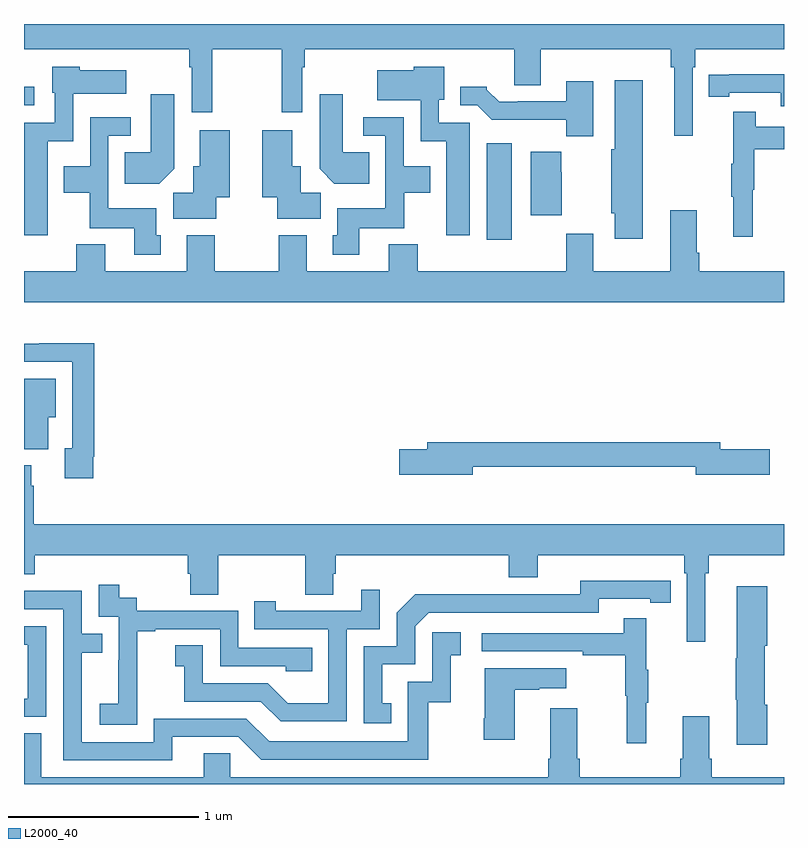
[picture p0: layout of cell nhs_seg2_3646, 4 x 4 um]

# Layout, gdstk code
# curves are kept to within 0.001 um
import gdstk
lib = gdstk.Library(unit=1e-6, precision=1e-09)
def R(c, l, rs):  # rectangles x0, y0, x1, y1
    for r in rs: c.add(gdstk.rectangle(r[:2], r[2:], *l))
def P(c, l, *ps):  # polygons
    for p in ps: c.add(gdstk.Polygon(p, *l))
L2000_40 = (2000, 40)

nhs_seg2_3646 = lib.new_cell('nhs_seg2_3646')
R(nhs_seg2_3646, L2000_40, [(305.435,614.664,305.566,615.172), (303,615.372,303.055,615.469)])
P(nhs_seg2_3646, L2000_40, [(306.519,615.572),(306.533,615.572),(306.533,615.668),(307,615.668),(307,615.8),(303,615.8),(303,615.668),(303.87,615.668),(303.87,615.572),(303.882,615.572),(303.882,615.336),(303.991,615.336),(303.991,615.668),(304.356,615.668),(304.356,615.336),(304.464,615.336),(304.464,615.572),(304.477,615.572),(304.477,615.668),(305.579,615.668),(305.579,615.478),(305.719,615.478),(305.719,615.668),(306.403,615.668),(306.403,615.572),(306.422,615.572),(306.422,615.213),(306.519,615.213)],
  [(303.124,615.182),(303.258,615.182),(303.258,615.434),(303.538,615.434),(303.538,615.556),(303.294,615.556),(303.294,615.574),(303.149,615.574),(303.149,615.438),(303.162,615.438),(303.162,615.279),(303,615.279),(303,614.688),(303.124,614.688)],
  [(305.347,615.279),(305.184,615.279),(305.184,615.402),(305.212,615.402),(305.212,615.574),(305.052,615.574),(305.052,615.556),(304.86,615.556),(304.86,615.398),(305.088,615.398),(305.088,615.182),(305.222,615.182),(305.222,614.688),(305.347,614.688)],
  [(307,615.535),(306.712,615.535),(306.712,615.534),(306.604,615.534),(306.604,615.418),(306.712,615.418),(306.712,615.438),(306.984,615.438),(306.984,615.366),(307,615.366)],
  [(306.256,615.505),(306.11,615.505),(306.11,615.141),(306.092,615.141),(306.092,614.805),(306.11,614.805),(306.11,614.67),(306.256,614.67)],
  [(305.995,615.499),(305.855,615.499),(305.855,615.393),(305.599,615.393),(305.599,615.39),(305.5,615.39),(305.436,615.454),(305.436,615.469),(305.297,615.469),(305.297,615.372),(305.385,615.372),(305.461,615.296),(305.853,615.296),(305.853,615.209),(305.995,615.209)],
  [(304.817,615.124),(304.678,615.124),(304.678,615.43),(304.556,615.43),(304.556,615.038),(304.634,614.96),(304.817,614.96)],
  [(303.79,615.038),(303.79,615.43),(303.668,615.43),(303.668,615.124),(303.529,615.124),(303.529,614.96),(303.712,614.96)],
  [(306.836,614.928),(306.844,614.928),(306.844,615.142),(307,615.142),(307,615.258),(306.851,615.258),(306.851,615.337),(306.734,615.337),(306.734,615.065),(306.723,615.065),(306.723,614.891),(306.734,614.891),(306.734,614.679),(306.836,614.679)],
  [(303.721,614.688),(303.697,614.688),(303.697,614.83),(303.444,614.83),(303.444,615.213),(303.562,615.213),(303.562,615.309),(303.348,615.309),(303.348,615.052),(303.209,615.052),(303.209,614.912),(303.346,614.912),(303.346,614.726),(303.581,614.726),(303.581,614.586),(303.721,614.586)],
  [(304.765,614.726),(305.001,614.726),(305.001,614.912),(305.137,614.912),(305.137,615.052),(304.998,615.052),(304.998,615.309),(304.785,615.309),(304.785,615.213),(304.902,615.213),(304.902,614.83),(304.649,614.83),(304.649,614.688),(304.625,614.688),(304.625,614.586),(304.765,614.586)],
  [(304.012,614.888),(304.084,614.888),(304.084,615.241),(303.926,615.241),(303.926,615.052),(303.89,615.052),(303.89,614.912),(303.785,614.912),(303.785,614.774),(304.012,614.774)],
  [(304.561,614.912),(304.456,614.912),(304.456,615.052),(304.411,615.052),(304.411,615.241),(304.253,615.241),(304.253,614.888),(304.334,614.888),(304.334,614.774),(304.561,614.774)],
  [(305.83,615.02),(305.828,615.02),(305.828,615.127),(305.666,615.127),(305.666,614.793),(305.83,614.793)],
  [(307,614.5),(306.554,614.5),(306.554,614.596),(306.541,614.596),(306.541,614.821),(306.401,614.821),(306.401,614.5),(305.995,614.5),(305.995,614.695),(305.855,614.695),(305.855,614.5),(305.072,614.5),(305.072,614.641),(304.919,614.641),(304.919,614.5),(304.489,614.5),(304.489,614.689),(304.342,614.689),(304.342,614.5),(304.005,614.5),(304.005,614.689),(303.857,614.689),(303.857,614.5),(303.427,614.5),(303.427,614.641),(303.275,614.641),(303.275,614.5),(303,614.5),(303,614.336),(307,614.336)],
  [(303.364,613.522),(303.371,613.522),(303.371,614.12),(303.079,614.12),(303.079,614.118),(303,614.118),(303,614.022),(303.255,614.022),(303.255,613.566),(303.215,613.566),(303.215,613.41),(303.364,613.41)],
  [(303.127,613.73),(303.166,613.73),(303.166,613.933),(303,613.933),(303,613.562),(303.127,613.562)],
  [(305.362,613.47),(306.536,613.47),(306.536,613.427),(306.925,613.427),(306.925,613.562),(306.664,613.562),(306.664,613.598),(305.123,613.598),(305.123,613.562),(304.974,613.562),(304.974,613.427),(305.362,613.427)],
  [(303.037,613.37),(303.037,613.477),(303,613.477),(303,612.905),(303.056,612.905),(303.056,613.004),(303.863,613.004),(303.863,612.906),(303.875,612.906),(303.875,612.796),(304.023,612.796),(304.023,613.004),(304.48,613.004),(304.48,612.796),(304.627,612.796),(304.627,612.906),(304.64,612.906),(304.64,613.004),(305.552,613.004),(305.552,612.887),(305.704,612.887),(305.704,613.004),(306.476,613.004),(306.476,612.908),(306.489,612.908),(306.489,612.549),(306.586,612.549),(306.586,612.908),(306.605,612.908),(306.605,613.004),(307,613.004),(307,613.168),(303.05,613.168),(303.05,613.37)],
  [(304.934,612.225),(304.885,612.225),(304.885,612.429),(305.058,612.429),(305.058,612.63),(305.13,612.702),(306.024,612.702),(306.024,612.774),(306.296,612.774),(306.296,612.754),(306.404,612.754),(306.404,612.87),(305.928,612.871),(305.928,612.798),(305.468,612.798),(305.468,612.8),(305.06,612.8),(304.962,612.702),(304.962,612.525),(304.788,612.525),(304.788,612.12),(304.934,612.12)],
  [(303.597,612.319),(303.596,612.319),(303.596,612.603),(303.691,612.603),(303.691,612.615),(304.032,612.615),(304.032,612.42),(304.377,612.42),(304.377,612.393),(304.517,612.393),(304.517,612.516),(304.128,612.516),(304.128,612.711),(303.594,612.711),(303.594,612.78),(303.502,612.78),(303.502,612.85),(303.393,612.85),(303.393,612.681),(303.498,612.681),(303.498,612.452),(303.497,612.452),(303.497,612.223),(303.399,612.223),(303.399,612.113),(303.597,612.113)],
  [(306.911,612.218),(306.898,612.218),(306.898,612.528),(306.911,612.528),(306.911,612.841),(306.752,612.841),(306.752,612.461),(306.745,612.461),(306.745,612.244),(306.752,612.244),(306.752,612.006),(306.911,612.006)],
  [(304.698,612.615),(304.872,612.615),(304.872,612.823),(304.775,612.823),(304.775,612.711),(304.324,612.711),(304.324,612.763),(304.213,612.763),(304.213,612.615),(304.602,612.615),(304.602,612.226),(304.388,612.226),(304.284,612.33),(303.942,612.33),(303.942,612.529),(303.795,612.529),(303.795,612.419),(303.844,612.419),(303.844,612.234),(304.247,612.234),(304.352,612.129),(304.698,612.129)],
  [(303.781,612.048),(304.128,612.048),(304.248,611.928),(305.128,611.928),(305.128,612.231),(305.246,612.231),(305.246,612.477),(305.299,612.477),(305.299,612.598),(305.148,612.598),(305.148,612.339),(305.019,612.339),(305.019,612.024),(304.29,612.024),(304.17,612.144),(303.684,612.144),(303.684,612.021),(303.303,612.021),(303.303,612.49),(303.413,612.49),(303.413,612.591),(303.303,612.591),(303.303,612.816),(303,612.816),(303,612.72),(303.207,612.72),(303.207,611.925),(303.781,611.925)],
  [(306.275,612.227),(306.286,612.227),(306.286,612.401),(306.275,612.401),(306.275,612.673),(306.157,612.673),(306.157,612.594),(305.409,612.594),(305.409,612.498),(305.941,612.498),(305.941,612.478),(306.165,612.478),(306.165,612.264),(306.172,612.264),(306.172,612.015),(306.275,612.015)],
  [(303.117,612.63),(303,612.63),(303,612.534),(303.021,612.534),(303.021,612.249),(303,612.249),(303,612.153),(303.117,612.153)],
  [(305.584,612.295),(305.711,612.295),(305.711,612.305),(305.854,612.305),(305.854,612.409),(305.426,612.409),(305.426,612.145),(305.419,612.145),(305.419,612.033),(305.584,612.033)],
  [(307,611.836),(306.62,611.836),(306.62,611.932),(306.607,611.932),(306.607,612.157),(306.467,612.157),(306.467,611.932),(306.455,611.932),(306.455,611.836),(305.924,611.836),(305.924,611.932),(305.911,611.932),(305.911,612.199),(305.771,612.199),(305.771,611.932),(305.759,611.932),(305.759,611.836),(304.086,611.836),(304.086,611.963),(303.947,611.963),(303.947,611.836),(303.091,611.836),(303.091,612.068),(303,612.068),(303,611.8),(307,611.8)])

lib.write_gds('nhs_seg2_3646.gds')
